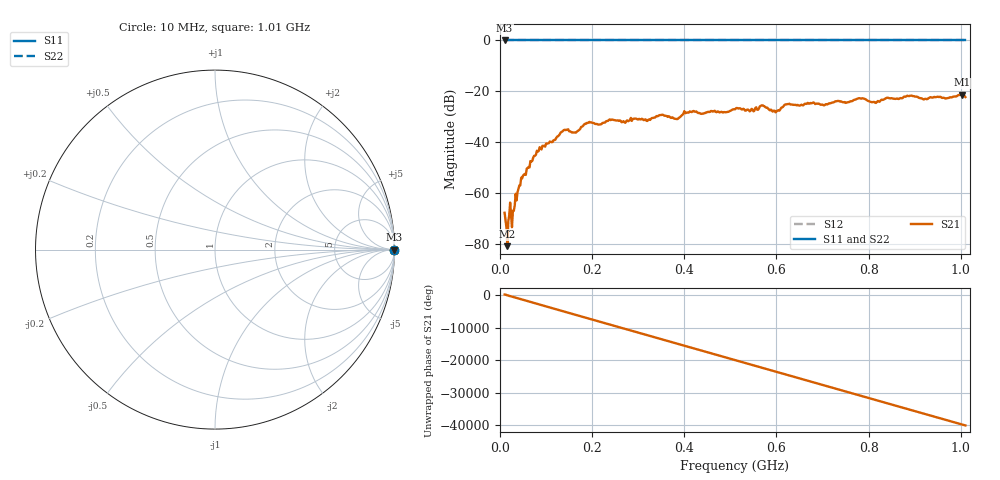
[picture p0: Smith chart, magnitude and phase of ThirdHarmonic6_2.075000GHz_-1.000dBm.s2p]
! 8/17/2025 12:51:15 AM
! C:\ANRITSUVNA\TEMP\TEMP.S2P
! CHANNEL.1
! TR.MEASUREMENT
! RAW.DATA
! RF.CORRECTION.OFF
! AVERAGING.OFF
! IF.BANDWIDTH: 5KHZ
! SWEEPTYPE:  FREQ.SWEEP(Linear)
! Reference Plane Port Info
! PORT:  PORT1  PORT2
! DISTANCE:  0  m  0  m
! TIME:  0  s  0  s
! PHASE.OFFSET:  0  deg.  0  deg.
! LOSS:  0  dB  0  dB
! REF.LOSS:  0  dB  0  dB
! REF.FREQ:  0  Hz  0  Hz
! Power Info
! POWER:  -20  dBm  -20  dBm
! EFF.POWER:  -20  dBm  -20  dBm
! SOURCE.ATTEN:  0  dB  0  dB
! TEST.ATTEN:  0  dB  0  dB
# GHZ S RI R 50.0
! FREQ.GHZ  S11RE  S11IM  S21RE  S21IM  S12RE  S12IM  S22RE  S22IM
!; PortSelection: Port_12
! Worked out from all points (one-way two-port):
!   501 points, 10 MHz to 1.01 GHz, reference 50 ohm
!   highest |S21| = -21.34 dB at 1.002 GHz (marker M1); lowest = -81.0 dB at 16 MHz (marker M2)
!   lowest |S11| = 0.0 dB at 10 MHz (marker M3)
!   |S11| at or under -10 dB: nowhere
!   |S22| runs from 0.0 to 0.0 dB; largest |S21 - S12| = 1.1
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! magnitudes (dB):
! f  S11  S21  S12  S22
! 10 MHz  0.0  -67.8  0.0  0.0
! 12 MHz  0.0  -70.7  0.0  0.0
! 16 MHz  0.0  -81.0  0.0  0.0
! 24 MHz  0.0  -68.7  0.0  0.0
! 28 MHz  0.0  -67.0  0.0  0.0
! 46 MHz  0.0  -54.0  0.0  0.0
! 84 MHz  0.0  -43.5  0.0  0.0
! 136 MHz  0.0  -35.7  0.0  0.0
! 162 MHz  0.0  -36.2  0.0  0.0
! 178 MHz  0.0  -33.9  0.0  0.0
! 344 MHz  0.0  -29.6  0.0  0.0
! 382 MHz  0.0  -30.9  0.0  0.0
! 416 MHz  0.0  -28.2  0.0  0.0
! 510 MHz  0.0  -27.1  0.0  0.0
! 570 MHz  0.0  -25.5  0.0  0.0
! 596 MHz  0.0  -27.7  0.0  0.0
! 622 MHz  0.0  -25.1  0.0  0.0
! 678 MHz  0.0  -24.6  0.0  0.0
! 812 MHz  0.0  -24.2  0.0  0.0
! 844 MHz  0.0  -22.7  0.0  0.0
! 1.002 GHz  0.0  -21.3  0.0  0.0
! 1.01 GHz  0.0  -22.3  0.0  0.0
